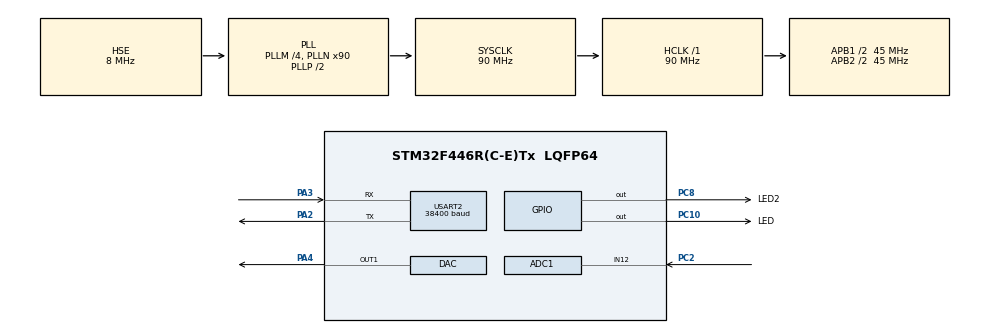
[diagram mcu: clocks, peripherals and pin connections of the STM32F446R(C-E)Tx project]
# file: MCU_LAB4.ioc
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ADC1.Channel-0\#ChannelRegularConversion=ADC_CHANNEL_12
ADC1.ContinuousConvMode=DISABLE
ADC1.DMAContinuousRequests=DISABLE
ADC1.NbrOfConversionFlag=1
ADC1.Rank-0\#ChannelRegularConversion=1
ADC1.SamplingTime-0\#ChannelRegularConversion=ADC_SAMPLETIME_3CYCLES
ADC1.ScanConvMode=DISABLE
ADC1.master=1
Dma.ADC1.0.Direction=DMA_PERIPH_TO_MEMORY
Dma.ADC1.0.FIFOMode=DMA_FIFOMODE_DISABLE
Dma.ADC1.0.Instance=DMA2_Stream0
Dma.ADC1.0.MemDataAlignment=DMA_MDATAALIGN_HALFWORD
Dma.ADC1.0.MemInc=DMA_MINC_ENABLE
Dma.ADC1.0.Mode=DMA_NORMAL
Dma.ADC1.0.PeriphDataAlignment=DMA_PDATAALIGN_HALFWORD
Dma.ADC1.0.PeriphInc=DMA_PINC_DISABLE
Dma.ADC1.0.Priority=DMA_PRIORITY_LOW
Dma.Request0=ADC1
Dma.Request1=USART2_TX
Dma.Request2=USART2_RX
Dma.USART2_RX.2.Direction=DMA_PERIPH_TO_MEMORY
Dma.USART2_RX.2.FIFOMode=DMA_FIFOMODE_DISABLE
Dma.USART2_RX.2.Instance=DMA1_Stream5
Dma.USART2_RX.2.MemDataAlignment=DMA_MDATAALIGN_BYTE
Dma.USART2_RX.2.MemInc=DMA_MINC_ENABLE
Dma.USART2_RX.2.Mode=DMA_NORMAL
Dma.USART2_RX.2.PeriphDataAlignment=DMA_PDATAALIGN_BYTE
Dma.USART2_RX.2.PeriphInc=DMA_PINC_DISABLE
Dma.USART2_RX.2.Priority=DMA_PRIORITY_LOW
Dma.USART2_TX.1.Direction=DMA_MEMORY_TO_PERIPH
Dma.USART2_TX.1.FIFOMode=DMA_FIFOMODE_DISABLE
Dma.USART2_TX.1.Instance=DMA1_Stream6
Dma.USART2_TX.1.MemDataAlignment=DMA_MDATAALIGN_BYTE
Dma.USART2_TX.1.MemInc=DMA_MINC_ENABLE
Dma.USART2_TX.1.Mode=DMA_NORMAL
Dma.USART2_TX.1.PeriphDataAlignment=DMA_PDATAALIGN_BYTE
Dma.USART2_TX.1.PeriphInc=DMA_PINC_DISABLE
Dma.USART2_TX.1.Priority=DMA_PRIORITY_LOW
Mcu.Family=STM32F4
Mcu.Name=STM32F446R(C-E)Tx
Mcu.Package=LQFP64
NVIC.ADC_IRQn=true\:0\:0\:false\:false\:true\:true\:true\:true
NVIC.DMA1_Stream5_IRQn=true\:0\:0\:false\:false\:true\:false\:true\:true
NVIC.DMA1_Stream6_IRQn=true\:0\:0\:false\:false\:true\:false\:true\:true
NVIC.DMA2_Stream0_IRQn=true\:0\:0\:false\:false\:true\:false\:true\:true
NVIC.PriorityGroup=NVIC_PRIORITYGROUP_4
NVIC.TIM1_BRK_TIM9_IRQn=true\:0\:0\:false\:false\:true\:true\:true\:true
NVIC.TIM1_CC_IRQn=true\:0\:0\:false\:false\:true\:true\:true\:true
NVIC.TIM1_TRG_COM_TIM11_IRQn=true\:0\:0\:false\:false\:true\:true\:true\:true
NVIC.TIM1_UP_TIM10_IRQn=true\:0\:0\:false\:false\:true\:true\:true\:true
NVIC.TIM2_IRQn=true\:0\:0\:false\:false\:true\:true\:true\:true
NVIC.USART2_IRQn=true\:0\:0\:false\:false\:true\:true\:true\:true
PA2.Mode=Asynchronous
PA2.Signal=USART2_TX
PA3.Mode=Asynchronous
PA3.Signal=USART2_RX
PA4.Signal=COMP_DAC1_group
PC10.GPIO_Label=LED
PC10.Signal=GPIO_Output
PC2.Signal=ADCx_IN12
PC8.GPIO_Label=LED2
PC8.Signal=GPIO_Output
PH0-OSC_IN.Mode=HSE-External-Oscillator
PH0-OSC_IN.Signal=RCC_OSC_IN
PH1-OSC_OUT.Mode=HSE-External-Oscillator
PH1-OSC_OUT.Signal=RCC_OSC_OUT
ProjectManager.HeapSize=0x200
ProjectManager.StackSize=0x400
ProjectManager.TargetToolchain=STM32CubeIDE
RCC.AHBFreq_Value=90000000
RCC.APB1CLKDivider=RCC_HCLK_DIV2
RCC.APB1Freq_Value=45000000
RCC.APB1TimFreq_Value=90000000
RCC.APB2CLKDivider=RCC_HCLK_DIV2
RCC.APB2Freq_Value=45000000
RCC.APB2TimFreq_Value=90000000
RCC.CortexFreq_Value=90000000
RCC.HCLKFreq_Value=90000000
RCC.HSE_VALUE=8000000
RCC.PLLM=4
RCC.PLLN=90
RCC.PLLSourceVirtual=RCC_PLLSOURCE_HSE
RCC.SYSCLKFreq_VALUE=90000000
RCC.SYSCLKSource=RCC_SYSCLKSOURCE_PLLCLK
RCC.USBFreq_Value=90000000
RCC.VCOOutputFreq_Value=180000000
SH.ADCx_IN12.0=ADC1_IN12,IN12
SH.COMP_DAC1_group.0=DAC_OUT1,DAC_OUT1
TIM1.Period=250-1
TIM1.Prescaler=90-1
TIM2.Period=1000-1
TIM2.Prescaler=90-1
USART2.BaudRate=38400
USART2.VirtualMode=VM_ASYNC
VP_TIM1_VS_ClockSourceINT.Mode=Internal
VP_TIM2_VS_ClockSourceINT.Mode=Internal
board=custom

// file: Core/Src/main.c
/* USER CODE BEGIN Header */
/**
  ******************************************************************************
  * @file           : main.c
  * @brief          : Main program body
  ******************************************************************************
  * @attention
  *
  * Copyright (c) 2024 STMicroelectronics.
  * All rights reserved.
  *
  * This software is licensed under terms that can be found in the LICENSE file
  * in the root directory of this software component.
  * If no LICENSE file comes with this software, it is provided AS-IS.
  *
  ******************************************************************************
  */
/* USER CODE END Header */
#include "main.h"

/* USER CODE BEGIN Includes */
#include <math.h>
#include <stdio.h>
#include <stdbool.h>
#include <string.h>
/* USER CODE END Includes */

ADC_HandleTypeDef hadc1;
DMA_HandleTypeDef hdma_adc1;

DAC_HandleTypeDef hdac;

TIM_HandleTypeDef htim1;
TIM_HandleTypeDef htim2;

UART_HandleTypeDef huart2;
DMA_HandleTypeDef hdma_usart2_tx;
DMA_HandleTypeDef hdma_usart2_rx;

void SystemClock_Config(void);
static void MX_GPIO_Init(void);
static void MX_DMA_Init(void);
static void MX_DAC_Init(void);
static void MX_TIM1_Init(void);
static void MX_USART2_UART_Init(void);
static void MX_ADC1_Init(void);
static void MX_TIM2_Init(void);

/* USER CODE BEGIN 0 */

//#define message_header 'N'
//#define message_terminator 'E'
#define UART_TX_BUFFER_SIZE 32

//struct __attribute__((__packed__)) message{
//    uint8_t header;
//    uint32_t number; //ex: float
//    uint8_t terminator;
//};

//struct __attribute__((__packed__)) message {
//	uint16_t header;
//	uint16_t number;
//	uint16_t terminator;
//};
//
//struct message msg = {'N', 0, 'E'};
//
//void sendToSimulink(uint32_t value) {
//	msg.header = message_header;
//	msg.number = value;
//	msg.terminator = message_terminator;
//    HAL_UART_Transmit_DMA( &huart2, (uint8_t*)&msg, sizeof(msg) ); // send message
//}

int num = 0;
float time = 0;
uint32_t ns = 4000;
float dt = 1.0 / 4000.0; // 4000 points per second - sample rate

bool cmd_executed = false;

char rx_buffer[50];
uint8_t tx_buffer[UART_TX_BUFFER_SIZE];

float received_numbers[2];
int numbers_received = 0;

uint32_t w = 0;
float omega = 1.0;

float phi = -3.14 / 2.0;
float ampl = 2;
float freq = 5.0;

uint32_t wave(float t) {
	float v_ref = 3.3;
	omega = 2.0 * 3.14 * freq;
	float res = (1 +  sinf( omega * t) ) / 2;
	return (uint32_t) (res * ampl *(4095/(v_ref)));
}

float value_adc = 0;
uint32_t adc_buffer[1];

/* USER CODE END 0 */

int main(void)
{

  /* MCU Configuration--------------------------------------------------------*/

  /* Reset of all peripherals, Initializes the Flash interface and the Systick. */
  HAL_Init();

  /* Configure the system clock */
  SystemClock_Config();

  /* Initialize all configured peripherals */
  MX_GPIO_Init();
  MX_DMA_Init();
  MX_DAC_Init();
  MX_TIM1_Init();
  MX_USART2_UART_Init();
  MX_ADC1_Init();
  MX_TIM2_Init();
  /* USER CODE BEGIN 2 */

  HAL_TIM_Base_Start_IT(&htim1);
  HAL_TIM_Base_Start_IT(&htim2);
  HAL_DAC_Start(&hdac, DAC_CHANNEL_1);
  HAL_UART_Receive_IT(&huart2, (uint8_t*)rx_buffer, 3);
  if (HAL_ADC_Start_DMA(&hadc1, (uint32_t*) adc_buffer, 1) != HAL_OK) Error_Handler();
  //  HAL_UARTEx_ReceiveToIdle_IT(&huart2, (uint8_t*)rx_buffer, 10); // desperation...

  uint16_t freq = 1000;
  uint32_t APB2_freq = HAL_RCC_GetPCLK2Freq()*2;
  TIM1->PSC = (uint32_t) ( APB2_freq/ 1000000 ) - 1;
  TIM1->ARR = (uint32_t) (1000000/ (freq)) - 1 ;

//  TIM2->PSC = (uint32_t) 75 - 1;//( APB2_freq/ 1000000 ) - 1;
//  TIM2->ARR = (uint32_t) (1000) - 1 ;

  /* USER CODE END 2 */

  /* Infinite loop */
  while (1)
  {

  }
}

void SystemClock_Config(void)
{
  RCC_OscInitTypeDef RCC_OscInitStruct = {0};
  RCC_ClkInitTypeDef RCC_ClkInitStruct = {0};

  /** Configure the main internal regulator output voltage
  */
  __HAL_RCC_PWR_CLK_ENABLE();
  __HAL_PWR_VOLTAGESCALING_CONFIG(PWR_REGULATOR_VOLTAGE_SCALE3);

  /** Initializes the RCC Oscillators according to the specified parameters
  * in the RCC_OscInitTypeDef structure.
  */
  RCC_OscInitStruct.OscillatorType = RCC_OSCILLATORTYPE_HSE;
  RCC_OscInitStruct.HSEState = RCC_HSE_ON;
  RCC_OscInitStruct.PLL.PLLState = RCC_PLL_ON;
  RCC_OscInitStruct.PLL.PLLSource = RCC_PLLSOURCE_HSE;
  RCC_OscInitStruct.PLL.PLLM = 4;
  RCC_OscInitStruct.PLL.PLLN = 90;
  RCC_OscInitStruct.PLL.PLLP = RCC_PLLP_DIV2;
  RCC_OscInitStruct.PLL.PLLQ = 2;
  RCC_OscInitStruct.PLL.PLLR = 2;
  if (HAL_RCC_OscConfig(&RCC_OscInitStruct) != HAL_OK)
  {
    Error_Handler();
  }

  /** Initializes the CPU, AHB and APB buses clocks
  */
  RCC_ClkInitStruct.ClockType = RCC_CLOCKTYPE_HCLK|RCC_CLOCKTYPE_SYSCLK
                              |RCC_CLOCKTYPE_PCLK1|RCC_CLOCKTYPE_PCLK2;
  RCC_ClkInitStruct.SYSCLKSource = RCC_SYSCLKSOURCE_PLLCLK;
  RCC_ClkInitStruct.AHBCLKDivider = RCC_SYSCLK_DIV1;
  RCC_ClkInitStruct.APB1CLKDivider = RCC_HCLK_DIV2;
  RCC_ClkInitStruct.APB2CLKDivider = RCC_HCLK_DIV2;

  if (HAL_RCC_ClockConfig(&RCC_ClkInitStruct, FLASH_LATENCY_2) != HAL_OK)
  {
    Error_Handler();
  }
}

static void MX_ADC1_Init(void)
{

  ADC_ChannelConfTypeDef sConfig = {0};

  /** Configure the global features of the ADC (Clock, Resolution, Data Alignment and number of conversion)
  */
  hadc1.Instance = ADC1;
  hadc1.Init.ClockPrescaler = ADC_CLOCK_SYNC_PCLK_DIV2;
  hadc1.Init.Resolution = ADC_RESOLUTION_12B;
  hadc1.Init.ScanConvMode = DISABLE;
  hadc1.Init.ContinuousConvMode = DISABLE;
  hadc1.Init.DiscontinuousConvMode = DISABLE;
  hadc1.Init.ExternalTrigConvEdge = ADC_EXTERNALTRIGCONVEDGE_NONE;
  hadc1.Init.ExternalTrigConv = ADC_SOFTWARE_START;
  hadc1.Init.DataAlign = ADC_DATAALIGN_RIGHT;
  hadc1.Init.NbrOfConversion = 1;
  hadc1.Init.DMAContinuousRequests = DISABLE;
  hadc1.Init.EOCSelection = ADC_EOC_SINGLE_CONV;
  if (HAL_ADC_Init(&hadc1) != HAL_OK)
  {
    Error_Handler();
  }

  /** Configure for the selected ADC regular channel its corresponding rank in the sequencer and its sample time.
  */
  sConfig.Channel = ADC_CHANNEL_12;
  sConfig.Rank = 1;
  sConfig.SamplingTime = ADC_SAMPLETIME_3CYCLES;
  if (HAL_ADC_ConfigChannel(&hadc1, &sConfig) != HAL_OK)
  {
    Error_Handler();
  }

}

static void MX_DAC_Init(void)
{

  DAC_ChannelConfTypeDef sConfig = {0};

  /** DAC Initialization
  */
  hdac.Instance = DAC;
  if (HAL_DAC_Init(&hdac) != HAL_OK)
  {
    Error_Handler();
  }

  /** DAC channel OUT1 config
  */
  sConfig.DAC_Trigger = DAC_TRIGGER_NONE;
  sConfig.DAC_OutputBuffer = DAC_OUTPUTBUFFER_ENABLE;
  if (HAL_DAC_ConfigChannel(&hdac, &sConfig, DAC_CHANNEL_1) != HAL_OK)
  {
    Error_Handler();
  }

}

static void MX_TIM1_Init(void)
{

  TIM_ClockConfigTypeDef sClockSourceConfig = {0};
  TIM_MasterConfigTypeDef sMasterConfig = {0};

  htim1.Instance = TIM1;
  htim1.Init.Prescaler = 90-1;
  htim1.Init.CounterMode = TIM_COUNTERMODE_UP;
  htim1.Init.Period = 250-1;
  htim1.Init.ClockDivision = TIM_CLOCKDIVISION_DIV1;
  htim1.Init.RepetitionCounter = 0;
  htim1.Init.AutoReloadPreload = TIM_AUTORELOAD_PRELOAD_DISABLE;
  if (HAL_TIM_Base_Init(&htim1) != HAL_OK)
  {
    Error_Handler();
  }
  sClockSourceConfig.ClockSource = TIM_CLOCKSOURCE_INTERNAL;
  if (HAL_TIM_ConfigClockSource(&htim1, &sClockSourceConfig) != HAL_OK)
  {
    Error_Handler();
  }
  sMasterConfig.MasterOutputTrigger = TIM_TRGO_RESET;
  sMasterConfig.MasterSlaveMode = TIM_MASTERSLAVEMODE_DISABLE;
  if (HAL_TIMEx_MasterConfigSynchronization(&htim1, &sMasterConfig) != HAL_OK)
  {
    Error_Handler();
  }

}

static void MX_TIM2_Init(void)
{

  TIM_ClockConfigTypeDef sClockSourceConfig = {0};
  TIM_MasterConfigTypeDef sMasterConfig = {0};

  htim2.Instance = TIM2;
  htim2.Init.Prescaler = 90-1;
  htim2.Init.CounterMode = TIM_COUNTERMODE_UP;
  htim2.Init.Period = 1000-1;
  htim2.Init.ClockDivision = TIM_CLOCKDIVISION_DIV1;
  htim2.Init.AutoReloadPreload = TIM_AUTORELOAD_PRELOAD_DISABLE;
  if (HAL_TIM_Base_Init(&htim2) != HAL_OK)
  {
    Error_Handler();
  }
  sClockSourceConfig.ClockSource = TIM_CLOCKSOURCE_INTERNAL;
  if (HAL_TIM_ConfigClockSource(&htim2, &sClockSourceConfig) != HAL_OK)
  {
    Error_Handler();
  }
  sMasterConfig.MasterOutputTrigger = TIM_TRGO_RESET;
  sMasterConfig.MasterSlaveMode = TIM_MASTERSLAVEMODE_DISABLE;
  if (HAL_TIMEx_MasterConfigSynchronization(&htim2, &sMasterConfig) != HAL_OK)
  {
    Error_Handler();
  }

}

static void MX_USART2_UART_Init(void)
{

  huart2.Instance = USART2;
  huart2.Init.BaudRate = 38400;
  huart2.Init.WordLength = UART_WORDLENGTH_8B;
  huart2.Init.StopBits = UART_STOPBITS_1;
  huart2.Init.Parity = UART_PARITY_NONE;
  huart2.Init.Mode = UART_MODE_TX_RX;
  huart2.Init.HwFlowCtl = UART_HWCONTROL_NONE;
  huart2.Init.OverSampling = UART_OVERSAMPLING_16;
  if (HAL_UART_Init(&huart2) != HAL_OK)
  {
    Error_Handler();
  }

}

static void MX_DMA_Init(void)
{

  /* DMA controller clock enable */
  __HAL_RCC_DMA2_CLK_ENABLE();
  __HAL_RCC_DMA1_CLK_ENABLE();

  /* DMA interrupt init */
  /* DMA1_Stream5_IRQn interrupt configuration */
  HAL_NVIC_SetPriority(DMA1_Stream5_IRQn, 0, 0);
  HAL_NVIC_EnableIRQ(DMA1_Stream5_IRQn);
  /* DMA1_Stream6_IRQn interrupt configuration */
  HAL_NVIC_SetPriority(DMA1_Stream6_IRQn, 0, 0);
  HAL_NVIC_EnableIRQ(DMA1_Stream6_IRQn);
  /* DMA2_Stream0_IRQn interrupt configuration */
  HAL_NVIC_SetPriority(DMA2_Stream0_IRQn, 0, 0);
  HAL_NVIC_EnableIRQ(DMA2_Stream0_IRQn);

}

static void MX_GPIO_Init(void)
{
  GPIO_InitTypeDef GPIO_InitStruct = {0};

  /* GPIO Ports Clock Enable */
  __HAL_RCC_GPIOH_CLK_ENABLE();
  __HAL_RCC_GPIOC_CLK_ENABLE();
  __HAL_RCC_GPIOA_CLK_ENABLE();

  /*Configure GPIO pin Output Level */
  HAL_GPIO_WritePin(GPIOC, LED2_Pin|LED_Pin, GPIO_PIN_RESET);

  /*Configure GPIO pins : LED2_Pin LED_Pin */
  GPIO_InitStruct.Pin = LED2_Pin|LED_Pin;
  GPIO_InitStruct.Mode = GPIO_MODE_OUTPUT_PP;
  GPIO_InitStruct.Pull = GPIO_NOPULL;
  GPIO_InitStruct.Speed = GPIO_SPEED_FREQ_LOW;
  HAL_GPIO_Init(GPIOC, &GPIO_InitStruct);

}

/* USER CODE BEGIN 4 */

void HAL_ADC_ConvCpltCallback(ADC_HandleTypeDef *hadc) {
	value_adc = (float) (adc_buffer[0] / 4095.0) * 3.3;
    if(hadc->Instance == ADC1) {
    	if (HAL_ADC_Start_DMA(&hadc1, (uint32_t*) adc_buffer, 1) != HAL_OK) {
    		  Error_Handler();
    	  }
//		sendToSimulink( value_adc );
    }
}

void HAL_TIM_PeriodElapsedCallback(TIM_HandleTypeDef *htim){
	if (htim == &htim1){
		if(htim->Instance == TIM1){
			time += dt;
			w = wave(time);
			HAL_DAC_SetValue(&hdac, DAC_CHANNEL_1, DAC_ALIGN_12B_R, w);
//			HAL_GPIO_TogglePin(LED_GPIO_Port, LED_Pin);
//			sendToSimulink( value_adc );
			snprintf((char*)tx_buffer, sizeof(tx_buffer), "v=%f\r\n", value_adc);
			HAL_UART_Transmit_IT(&huart2, tx_buffer, strlen((char*)tx_buffer));
		}
	}
//	if (htim == &htim2){
//		if(htim->Instance == TIM2){
////			HAL_ADC_Start_DMA(&hadc1, (uint32_t*) &value_adc, 1);
////			sendToSimulink( value_adc );
//		}
}

void HAL_UART_RxCpltCallback(UART_HandleTypeDef *huart) {

  if(huart == &huart2) {
	  	int number;
	      if ( sscanf(rx_buffer, "%d", &number) == 1) {
	      	 if (numbers_received == 0) {
	      	            	ampl = number / 100.0f;
	      	            	numbers_received++;
	      	            	HAL_UART_Receive_DMA(&huart2, (uint8_t*)rx_buffer, 4);
	      	            }
	      	 else if(numbers_received == 1) {
	      	            	freq = number / 100.0f;
	      	            	numbers_received = 0;
	      	            	HAL_UART_Receive_DMA(&huart2, (uint8_t*)rx_buffer, 3);
	      	            }
	      }

	      memset(rx_buffer, 0, sizeof(rx_buffer));

  }
}
/* USER CODE END 4 */

void Error_Handler(void)
{
  __disable_irq();
  while (1)
  {
  }
}
